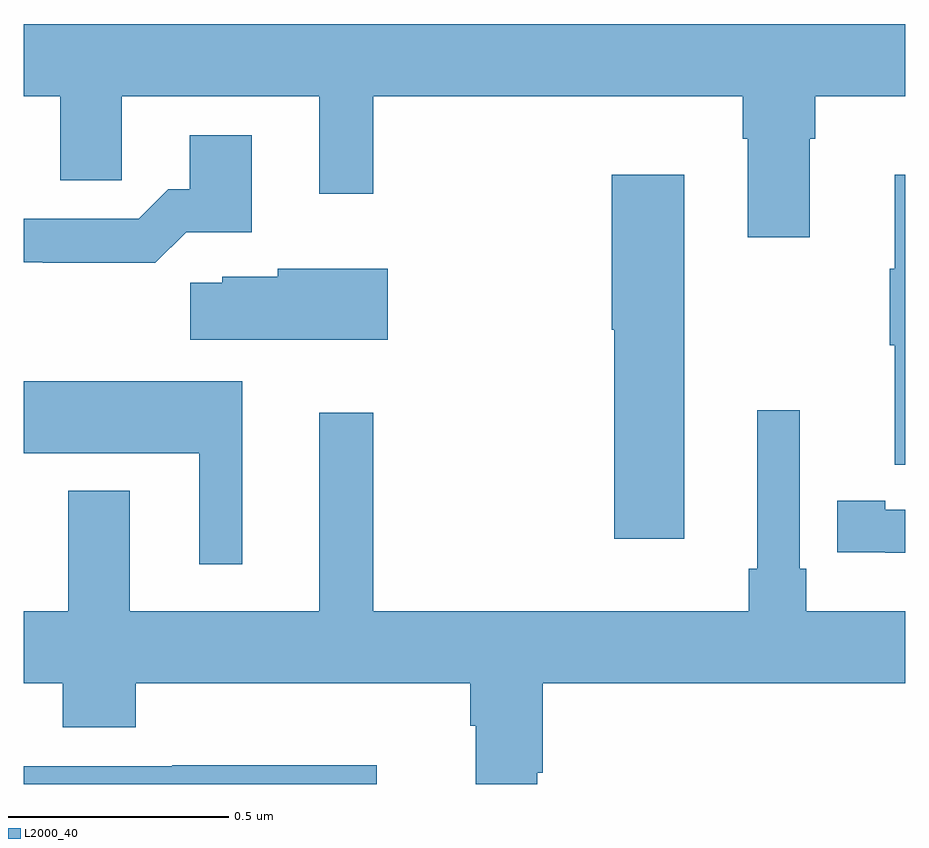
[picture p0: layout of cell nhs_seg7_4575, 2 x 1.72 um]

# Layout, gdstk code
import gdstk
lib = gdstk.Library(unit=1e-6, precision=1e-09)
def P(c, l, *ps):  # polygons
    for p in ps: c.add(gdstk.Polygon(p, *l))
L2000_40 = (2000, 40)

nhs_seg7_4575 = lib.new_cell('nhs_seg7_4575')
P(nhs_seg7_4575, L2000_40, [(175.783,1056.464),(175.796,1056.464),(175.796,1056.56),(176,1056.56),(176,1056.724),(174,1056.724),(174,1056.56),(174.083,1056.56),(174.083,1056.37),(174.222,1056.37),(174.222,1056.56),(174.671,1056.56),(174.671,1056.339),(174.793,1056.339),(174.793,1056.56),(175.631,1056.56),(175.631,1056.464),(175.643,1056.464),(175.643,1056.24),(175.783,1056.24)],
  [(174.369,1056.252),(174.517,1056.252),(174.517,1056.472),(174.377,1056.472),(174.377,1056.349),(174.328,1056.349),(174.261,1056.282),(174,1056.282),(174,1056.184),(174.043,1056.184),(174.043,1056.182),(174.299,1056.182)],
  [(175.498,1056.382),(175.334,1056.382),(175.334,1056.03),(175.34,1056.03),(175.34,1055.556),(175.498,1055.556)],
  [(176,1056.382),(175.976,1056.382),(175.976,1056.169),(175.965,1056.169),(175.965,1055.995),(175.976,1055.995),(175.976,1055.724),(176,1055.724)],
  [(174.826,1056.169),(174.576,1056.169),(174.576,1056.151),(174.45,1056.151),(174.45,1056.137),(174.378,1056.137),(174.378,1056.008),(174.826,1056.008)],
  [(174.496,1055.914),(174,1055.914),(174,1055.75),(174.398,1055.75),(174.398,1055.499),(174.496,1055.499)],
  [(175.165,1055.026),(175.178,1055.026),(175.178,1055.228),(176,1055.228),(176,1055.392),(175.775,1055.392),(175.775,1055.488),(175.761,1055.488),(175.761,1055.848),(175.664,1055.848),(175.664,1055.488),(175.645,1055.488),(175.645,1055.392),(174.793,1055.392),(174.793,1055.842),(174.671,1055.842),(174.671,1055.392),(174.241,1055.392),(174.241,1055.665),(174.101,1055.665),(174.101,1055.392),(174,1055.392),(174,1055.228),(174.089,1055.228),(174.089,1055.129),(174.254,1055.129),(174.254,1055.228),(175.013,1055.228),(175.013,1055.132),(175.025,1055.132),(175.025,1055),(175.165,1055)],
  [(176,1055.622),(175.954,1055.622),(175.954,1055.642),(175.846,1055.642),(175.846,1055.526),(175.954,1055.526),(175.954,1055.525),(176,1055.525)],
  [(174.801,1055.042),(174.337,1055.042),(174.337,1055.04),(174,1055.04),(174,1055),(174.801,1055)])

lib.write_gds('nhs_seg7_4575.gds')
